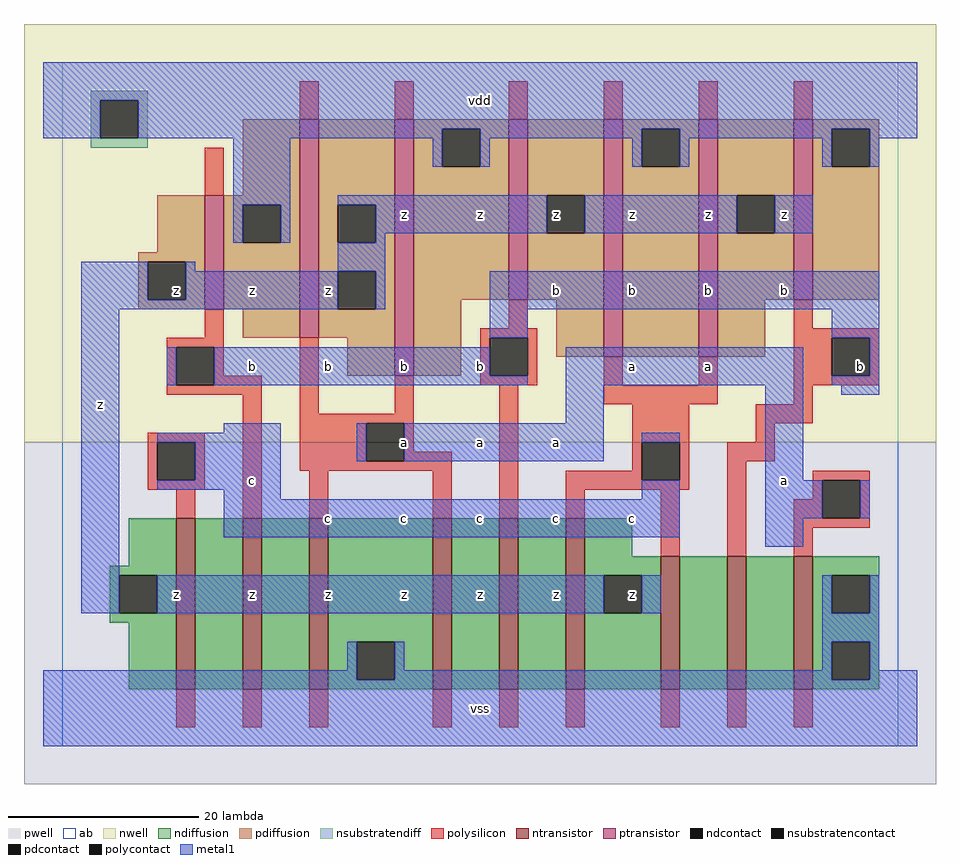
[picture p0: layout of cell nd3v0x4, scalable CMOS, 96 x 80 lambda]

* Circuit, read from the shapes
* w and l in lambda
.subckt nd3v0x4 a b c vdd vss z
M1 n1 c z VSUBS nfet w=18 l=2
M2 n2 b n1 VSUBS nfet w=18 l=2
M3 vss a n2 VSUBS nfet w=18 l=2
M4 n3 a vss VSUBS nfet w=18 l=2
M5 n4 b n3 VSUBS nfet w=18 l=2
M6 z c n4 VSUBS nfet w=18 l=2
M7 n5 c z VSUBS nfet w=14 l=2
M8 n6 b n5 VSUBS nfet w=14 l=2
M9 vss a n6 VSUBS nfet w=14 l=2
M10 vdd b z vdd pfet w=12 l=2
M11 z a vdd vdd pfet w=23 l=2
M12 vdd a z vdd pfet w=27 l=2
M13 z b vdd vdd pfet w=19 l=2 m=2
M14 vdd c z vdd pfet w=25 l=2 m=2
.ends

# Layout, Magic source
magic
tech scmos
<< ab >>
rect 0 0 88 72
<< pwell >>
rect -4 -4 92 32
<< nwell >>
rect -4 32 92 76
<< polysilicon >>
rect 25 66 27 70
rect 35 66 37 70
rect 47 66 49 70
rect 57 66 59 70
rect 67 66 69 70
rect 77 66 79 70
rect 15 58 17 63
rect 15 43 17 46
rect 11 42 17 43
rect 11 38 12 42
rect 16 39 17 42
rect 16 38 21 39
rect 11 37 21 38
rect 9 32 15 33
rect 9 28 10 32
rect 14 28 15 32
rect 9 27 15 28
rect 12 24 14 27
rect 19 24 21 37
rect 25 35 27 43
rect 47 44 49 47
rect 44 43 50 44
rect 44 39 45 43
rect 49 39 50 43
rect 77 44 79 47
rect 77 43 86 44
rect 35 35 37 39
rect 44 38 50 39
rect 57 38 59 41
rect 67 38 69 41
rect 25 34 37 35
rect 25 30 32 34
rect 36 31 37 34
rect 36 30 41 31
rect 25 29 41 30
rect 26 24 28 29
rect 39 24 41 29
rect 46 24 48 38
rect 57 36 69 38
rect 77 39 81 43
rect 85 39 86 43
rect 77 38 86 39
rect 77 36 79 38
rect 60 32 66 36
rect 73 34 79 36
rect 73 32 75 34
rect 60 29 61 32
rect 53 28 61 29
rect 65 28 66 32
rect 53 27 66 28
rect 70 30 75 32
rect 53 24 55 27
rect 63 20 65 27
rect 70 20 72 30
rect 79 28 85 29
rect 79 26 80 28
rect 77 24 80 26
rect 84 24 85 28
rect 77 23 85 24
rect 77 20 79 23
rect 12 2 14 6
rect 19 2 21 6
rect 26 2 28 6
rect 39 2 41 6
rect 46 2 48 6
rect 53 2 55 6
rect 63 2 65 6
rect 70 2 72 6
rect 77 2 79 6
<< ndiffusion >>
rect 7 19 12 24
rect 5 18 12 19
rect 5 14 6 18
rect 10 14 12 18
rect 5 13 12 14
rect 7 6 12 13
rect 14 6 19 24
rect 21 6 26 24
rect 28 11 39 24
rect 28 7 31 11
rect 35 7 39 11
rect 28 6 39 7
rect 41 6 46 24
rect 48 6 53 24
rect 55 20 60 24
rect 55 18 63 20
rect 55 14 57 18
rect 61 14 63 18
rect 55 6 63 14
rect 65 6 70 20
rect 72 6 77 20
rect 79 18 86 20
rect 79 14 81 18
rect 85 14 86 18
rect 79 11 86 14
rect 79 7 81 11
rect 85 7 86 11
rect 79 6 86 7
<< pdiffusion >>
rect 19 58 25 66
rect 10 52 15 58
rect 8 51 15 52
rect 8 47 9 51
rect 13 47 15 51
rect 8 46 15 47
rect 17 57 25 58
rect 17 53 19 57
rect 23 53 25 57
rect 17 46 25 53
rect 19 43 25 46
rect 27 57 35 66
rect 27 53 29 57
rect 33 53 35 57
rect 27 50 35 53
rect 27 46 29 50
rect 33 46 35 50
rect 27 43 35 46
rect 30 39 35 43
rect 37 65 47 66
rect 37 61 40 65
rect 44 61 47 65
rect 37 47 47 61
rect 49 58 57 66
rect 49 54 51 58
rect 55 54 57 58
rect 49 47 57 54
rect 37 39 42 47
rect 52 41 57 47
rect 59 65 67 66
rect 59 61 61 65
rect 65 61 67 65
rect 59 41 67 61
rect 69 58 77 66
rect 69 54 71 58
rect 75 54 77 58
rect 69 47 77 54
rect 79 65 86 66
rect 79 61 81 65
rect 85 61 86 65
rect 79 47 86 61
rect 69 41 74 47
<< metal1 >>
rect -2 68 90 72
rect -2 64 4 68
rect 8 65 90 68
rect 8 64 40 65
rect 18 57 24 64
rect 39 61 40 64
rect 44 64 61 65
rect 44 61 45 64
rect 60 61 61 64
rect 65 64 81 65
rect 65 61 66 64
rect 80 61 81 64
rect 85 64 90 65
rect 85 61 86 64
rect 18 53 19 57
rect 23 53 24 57
rect 29 57 51 58
rect 33 54 51 57
rect 55 54 71 58
rect 75 54 79 58
rect 33 53 34 54
rect 2 47 9 51
rect 13 50 14 51
rect 29 50 34 53
rect 13 47 29 50
rect 2 46 29 47
rect 33 46 34 50
rect 45 46 86 50
rect 2 14 6 46
rect 45 43 49 46
rect 11 38 12 42
rect 16 39 45 42
rect 81 43 86 46
rect 16 38 49 39
rect 53 38 78 42
rect 85 39 86 43
rect 81 38 86 39
rect 53 34 57 38
rect 17 33 23 34
rect 10 32 23 33
rect 14 28 23 32
rect 31 30 32 34
rect 36 30 57 34
rect 61 32 65 33
rect 10 27 23 28
rect 17 26 23 27
rect 61 26 65 28
rect 17 22 65 26
rect 74 28 78 38
rect 82 37 86 38
rect 74 24 80 28
rect 84 24 85 28
rect 74 21 78 24
rect 10 14 57 18
rect 61 14 63 18
rect 80 14 81 18
rect 85 14 86 18
rect 80 11 86 14
rect 30 8 31 11
rect -2 7 31 8
rect 35 8 36 11
rect 80 8 81 11
rect 35 7 81 8
rect 85 8 86 11
rect 85 7 90 8
rect -2 0 90 7
<< ntransistor >>
rect 12 6 14 24
rect 19 6 21 24
rect 26 6 28 24
rect 39 6 41 24
rect 46 6 48 24
rect 53 6 55 24
rect 63 6 65 20
rect 70 6 72 20
rect 77 6 79 20
<< ptransistor >>
rect 15 46 17 58
rect 25 43 27 66
rect 35 39 37 66
rect 47 47 49 66
rect 57 41 59 66
rect 67 41 69 66
rect 77 47 79 66
<< polycontact >>
rect 12 38 16 42
rect 10 28 14 32
rect 45 39 49 43
rect 32 30 36 34
rect 81 39 85 43
rect 61 28 65 32
rect 80 24 84 28
<< ndcontact >>
rect 6 14 10 18
rect 31 7 35 11
rect 57 14 61 18
rect 81 14 85 18
rect 81 7 85 11
<< pdcontact >>
rect 9 47 13 51
rect 19 53 23 57
rect 29 53 33 57
rect 29 46 33 50
rect 40 61 44 65
rect 51 54 55 58
rect 61 61 65 65
rect 71 54 75 58
rect 81 61 85 65
<< nsubstratencontact >>
rect 4 64 8 68
<< nsubstratendiff >>
rect 3 68 9 69
rect 3 64 4 68
rect 8 64 9 68
rect 3 63 9 64
<< labels >>
rlabel metal1 12 16 12 16 6 z
rlabel metal1 4 36 4 36 6 z
rlabel pdcontact 12 48 12 48 6 z
rlabel metal1 20 16 20 16 6 z
rlabel metal1 28 16 28 16 6 z
rlabel metal1 28 24 28 24 6 c
rlabel metal1 20 28 20 28 6 c
rlabel metal1 20 40 20 40 6 b
rlabel metal1 28 40 28 40 6 b
rlabel metal1 20 48 20 48 6 z
rlabel metal1 28 48 28 48 6 z
rlabel metal1 44 4 44 4 6 vss
rlabel metal1 44 16 44 16 6 z
rlabel metal1 36 16 36 16 6 z
rlabel metal1 36 24 36 24 6 c
rlabel metal1 44 24 44 24 6 c
rlabel metal1 44 32 44 32 6 a
rlabel metal1 36 32 36 32 6 a
rlabel metal1 36 40 36 40 6 b
rlabel metal1 44 40 44 40 6 b
rlabel metal1 44 56 44 56 6 z
rlabel metal1 36 56 36 56 6 z
rlabel metal1 44 68 44 68 6 vdd
rlabel ndcontact 60 16 60 16 6 z
rlabel metal1 52 16 52 16 6 z
rlabel metal1 52 24 52 24 6 c
rlabel metal1 60 24 60 24 6 c
rlabel metal1 52 32 52 32 6 a
rlabel metal1 60 40 60 40 6 a
rlabel metal1 68 40 68 40 6 a
rlabel metal1 52 48 52 48 6 b
rlabel metal1 60 48 60 48 6 b
rlabel metal1 68 48 68 48 6 b
rlabel metal1 60 56 60 56 6 z
rlabel metal1 68 56 68 56 6 z
rlabel pdcontact 52 56 52 56 6 z
rlabel metal1 76 28 76 28 6 a
rlabel polycontact 84 40 84 40 6 b
rlabel metal1 76 48 76 48 6 b
rlabel metal1 76 56 76 56 6 z
<< end >>
